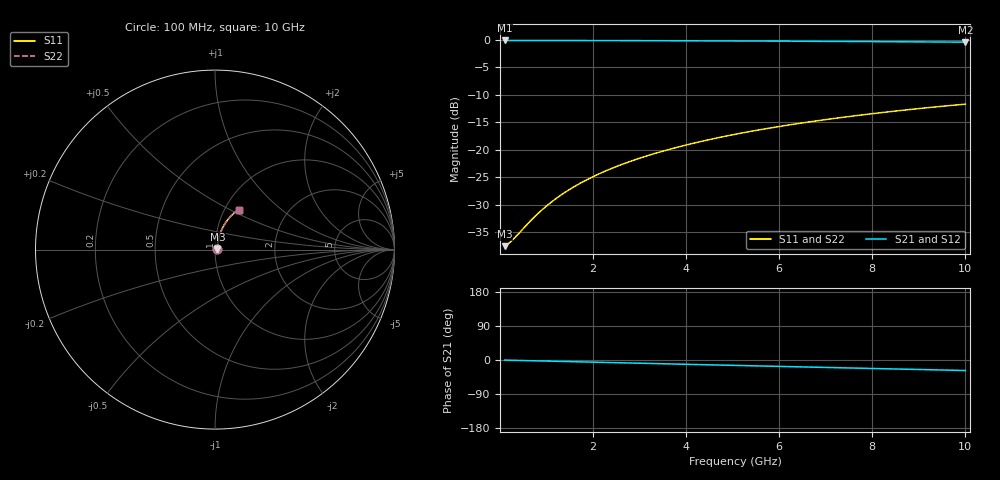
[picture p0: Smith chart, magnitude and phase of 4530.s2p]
# Hz S RI R 50.00
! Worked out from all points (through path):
!   100 points, 100 MHz to 10 GHz, reference 50 ohm
!   highest |S21| = -0.11 dB at 100 MHz (marker M1); lowest = -0.4 dB at 10 GHz (marker M2)
!   group delay of S21, straight-line fit = 7.72 ps
!   lowest |S11| = -37.6 dB at 100 MHz (marker M3), VSWR 1.03, Z = 51.3 + j0.277 ohm
!   |S11| at or under -10 dB: start of sweep to end of sweep
!   |S22| runs from -37.6 to -11.7 dB; largest |S21 - S12| = 0
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1e8  0.0129 0.0027  0.9871 -0.00489  0.9871 -0.00489  0.0129 0.0027
2e8  0.0131 0.0054  0.9869 -0.00978  0.9869 -0.00978  0.0131 0.0054
3e8  0.0132 0.0081  0.9868 -0.0147  0.9868 -0.0147  0.0132 0.0081
7e8  0.0139 0.0189  0.986 -0.0342  0.986 -0.0342  0.0139 0.0189
8e8  0.0141 0.0216  0.9857 -0.0391  0.9857 -0.0391  0.0141 0.0216
1e9  0.0146 0.0269  0.9851 -0.0488  0.9851 -0.0488  0.0146 0.0269
1.2e9  0.0153 0.0323  0.9843 -0.0586  0.9843 -0.0586  0.0153 0.0323
1.4e9  0.016 0.0376  0.9835 -0.0683  0.9835 -0.0683  0.016 0.0376
1.6e9  0.0169 0.0429  0.9825 -0.078  0.9825 -0.078  0.0169 0.0429
1.8e9  0.0178 0.0482  0.9814 -0.0877  0.9814 -0.0877  0.0178 0.0482
2.1e9  0.0194 0.0561  0.9795 -0.1021  0.9795 -0.1021  0.0194 0.0561
2.5e9  0.0219 0.0666  0.9766 -0.1214  0.9766 -0.1214  0.0219 0.0666
2.9e9  0.0248 0.0769  0.9731 -0.1405  0.9731 -0.1405  0.0248 0.0769
3.4e9  0.029 0.0896  0.9682 -0.1641  0.9682 -0.1641  0.029 0.0896
3.8e9  0.0327 0.0996  0.9637 -0.1829  0.9637 -0.1829  0.0327 0.0996
4.2e9  0.0369 0.1094  0.9588 -0.2015  0.9588 -0.2015  0.0369 0.1094
5.1e9  0.0476 0.1308  0.946 -0.2426  0.946 -0.2426  0.0476 0.1308
5.9e9  0.0585 0.1488  0.9329 -0.2782  0.9329 -0.2782  0.0585 0.1488
6.7e9  0.0708 0.1658  0.9182 -0.3128  0.9182 -0.3128  0.0708 0.1658
7.5e9  0.0842 0.1817  0.9019 -0.3463  0.9019 -0.3463  0.0842 0.1817
8.4e9  0.1006 0.1981  0.882 -0.3826  0.882 -0.3826  0.1006 0.1981
1e10  0.1324 0.2234  0.8428 -0.4432  0.8428 -0.4432  0.1324 0.2234
